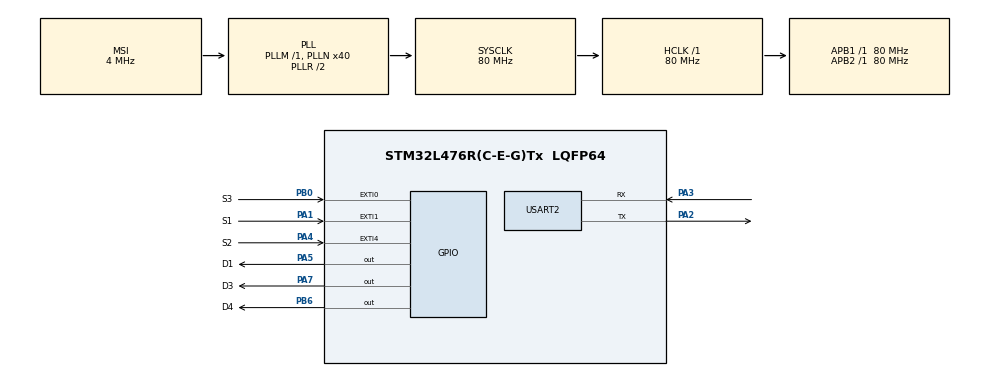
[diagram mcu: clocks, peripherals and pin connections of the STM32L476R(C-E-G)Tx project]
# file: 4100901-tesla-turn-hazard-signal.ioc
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Mcu.Family=STM32L4
Mcu.Name=STM32L476R(C-E-G)Tx
Mcu.Package=LQFP64
NVIC.EXTI0_IRQn=true\:0\:0\:false\:false\:true\:true\:true\:true
NVIC.EXTI1_IRQn=true\:0\:0\:false\:false\:true\:true\:true\:true
NVIC.EXTI4_IRQn=true\:0\:0\:false\:false\:true\:true\:true\:true
NVIC.PriorityGroup=NVIC_PRIORITYGROUP_4
PA1.GPIO_Label=S1
PA1.GPIO_ModeDefaultEXTI=GPIO_MODE_IT_FALLING
PA1.Signal=GPXTI1
PA2.Mode=Asynchronous
PA2.Signal=USART2_TX
PA3.Mode=Asynchronous
PA3.Signal=USART2_RX
PA4.GPIO_Label=S2
PA4.GPIO_ModeDefaultEXTI=GPIO_MODE_IT_FALLING
PA4.Signal=GPXTI4
PA5.GPIO_Label=D1
PA5.PinState=GPIO_PIN_SET
PA5.Signal=GPIO_Output
PA7.GPIO_Label=D3
PA7.PinState=GPIO_PIN_SET
PA7.Signal=GPIO_Output
PB0.GPIO_Label=S3
PB0.GPIO_ModeDefaultEXTI=GPIO_MODE_IT_FALLING
PB0.Signal=GPXTI0
PB6.GPIO_Label=D4
PB6.PinState=GPIO_PIN_SET
PB6.Signal=GPIO_Output
ProjectManager.HeapSize=0x200
ProjectManager.StackSize=0x400
ProjectManager.TargetToolchain=STM32CubeIDE
RCC.ADCFreq_Value=16000000
RCC.AHBFreq_Value=80000000
RCC.APB1Freq_Value=80000000
RCC.APB1TimFreq_Value=80000000
RCC.APB2Freq_Value=80000000
RCC.APB2TimFreq_Value=80000000
RCC.CortexFreq_Value=80000000
RCC.HCLKFreq_Value=80000000
RCC.HSE_VALUE=8000000
RCC.HSI_VALUE=16000000
RCC.LSE_VALUE=32768
RCC.MSI_VALUE=4000000
RCC.PLLN=40
RCC.SYSCLKFreq_VALUE=80000000
RCC.SYSCLKSource=RCC_SYSCLKSOURCE_PLLCLK
RCC.USBFreq_Value=16000000
RCC.VCOOutputFreq_Value=160000000
USART2.VirtualMode-Asynchronous=VM_ASYNC
board=custom

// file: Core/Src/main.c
/* USER CODE BEGIN Header */
/**
  ******************************************************************************
  * @file           : main.c
  * @brief          : Main program body
  ******************************************************************************
  * @attention
  *
  * Copyright (c) 2024 STMicroelectronics.
  * All rights reserved.
  *
  * This software is licensed under terms that can be found in the LICENSE file
  * in the root directory of this software component.
  * If no LICENSE file comes with this software, it is provided AS-IS.
  *
  ******************************************************************************
  */
/* USER CODE END Header */
#include "main.h"

UART_HandleTypeDef huart2;

/* USER CODE BEGIN PV */
uint32_t left_toggle = 0;
/* USER CODE END PV */

void SystemClock_Config(void);
static void MX_GPIO_Init(void);
static void MX_USART2_UART_Init(void);

/* USER CODE BEGIN 0 */
void HAL_GPIO_EXTI_Callback(uint16_t GPIO_Pin)
{
  /* Prevent unused argument(s) compilation warning */
  UNUSED(GPIO_Pin);

  if(GPIO_Pin == S1_Pin){
	  /*HAL_UART_Transmit(&huart2, "Pin S1\r\n", 8,10);*/
	  left_toggle = 6;
  }
  if(GPIO_Pin == S2_Pin){
  	  HAL_UART_Transmit(&huart2, "Pin S2\r\n", 8,10);
    }
  if(GPIO_Pin == S3_Pin){
  	  HAL_UART_Transmit(&huart2, "Pin S3\r\n", 8,10);
    }

}

/*Para configurar el hearrbeat:*/
void heartbeat(void){
	static uint32_t hearbeat_tick = 0;
	if(hearbeat_tick < HAL_GetTick()){
		hearbeat_tick = HAL_GetTick() + 500;
		HAL_GPIO_TogglePin(D1_GPIO_Port, D1_Pin);
	}
}

void turn_signal_led(void){
	static uint32_t toggle_tick = 0;
	if(toggle_tick < HAL_GetTick()){
		if(left_toggle > 0){
			toggle_tick = HAL_GetTick() + 500;
			HAL_GPIO_TogglePin(D3_GPIO_Port, D3_Pin);
			left_toggle--;
		}else{
			HAL_GPIO_WritePin(D3_GPIO_Port, D3_Pin, 1);
		}

	}
}

/* USER CODE END 0 */

int main(void)
{

  /* MCU Configuration--------------------------------------------------------*/

  /* Reset of all peripherals, Initializes the Flash interface and the Systick. */
  HAL_Init();

  /* Configure the system clock */
  SystemClock_Config();

  /* Initialize all configured peripherals */
  MX_GPIO_Init();
  MX_USART2_UART_Init();

  /* Infinite loop */
  /* USER CODE BEGIN WHILE */
  while (1)
  {
	  heartbeat();
	  turn_signal_led();
    /* USER CODE END WHILE */

  }
}

void SystemClock_Config(void)
{
  RCC_OscInitTypeDef RCC_OscInitStruct = {0};
  RCC_ClkInitTypeDef RCC_ClkInitStruct = {0};

  /** Configure the main internal regulator output voltage
  */
  if (HAL_PWREx_ControlVoltageScaling(PWR_REGULATOR_VOLTAGE_SCALE1) != HAL_OK)
  {
    Error_Handler();
  }

  /** Initializes the RCC Oscillators according to the specified parameters
  * in the RCC_OscInitTypeDef structure.
  */
  RCC_OscInitStruct.OscillatorType = RCC_OSCILLATORTYPE_MSI;
  RCC_OscInitStruct.MSIState = RCC_MSI_ON;
  RCC_OscInitStruct.MSICalibrationValue = 0;
  RCC_OscInitStruct.MSIClockRange = RCC_MSIRANGE_6;
  RCC_OscInitStruct.PLL.PLLState = RCC_PLL_ON;
  RCC_OscInitStruct.PLL.PLLSource = RCC_PLLSOURCE_MSI;
  RCC_OscInitStruct.PLL.PLLM = 1;
  RCC_OscInitStruct.PLL.PLLN = 40;
  RCC_OscInitStruct.PLL.PLLP = RCC_PLLP_DIV7;
  RCC_OscInitStruct.PLL.PLLQ = RCC_PLLQ_DIV2;
  RCC_OscInitStruct.PLL.PLLR = RCC_PLLR_DIV2;
  if (HAL_RCC_OscConfig(&RCC_OscInitStruct) != HAL_OK)
  {
    Error_Handler();
  }

  /** Initializes the CPU, AHB and APB buses clocks
  */
  RCC_ClkInitStruct.ClockType = RCC_CLOCKTYPE_HCLK|RCC_CLOCKTYPE_SYSCLK
                              |RCC_CLOCKTYPE_PCLK1|RCC_CLOCKTYPE_PCLK2;
  RCC_ClkInitStruct.SYSCLKSource = RCC_SYSCLKSOURCE_PLLCLK;
  RCC_ClkInitStruct.AHBCLKDivider = RCC_SYSCLK_DIV1;
  RCC_ClkInitStruct.APB1CLKDivider = RCC_HCLK_DIV1;
  RCC_ClkInitStruct.APB2CLKDivider = RCC_HCLK_DIV1;

  if (HAL_RCC_ClockConfig(&RCC_ClkInitStruct, FLASH_LATENCY_4) != HAL_OK)
  {
    Error_Handler();
  }
}

static void MX_USART2_UART_Init(void)
{

  huart2.Instance = USART2;
  huart2.Init.BaudRate = 115200;
  huart2.Init.WordLength = UART_WORDLENGTH_8B;
  huart2.Init.StopBits = UART_STOPBITS_1;
  huart2.Init.Parity = UART_PARITY_NONE;
  huart2.Init.Mode = UART_MODE_TX_RX;
  huart2.Init.HwFlowCtl = UART_HWCONTROL_NONE;
  huart2.Init.OverSampling = UART_OVERSAMPLING_16;
  huart2.Init.OneBitSampling = UART_ONE_BIT_SAMPLE_DISABLE;
  huart2.AdvancedInit.AdvFeatureInit = UART_ADVFEATURE_NO_INIT;
  if (HAL_UART_Init(&huart2) != HAL_OK)
  {
    Error_Handler();
  }

}

static void MX_GPIO_Init(void)
{
  GPIO_InitTypeDef GPIO_InitStruct = {0};

  /* GPIO Ports Clock Enable */
  __HAL_RCC_GPIOA_CLK_ENABLE();
  __HAL_RCC_GPIOB_CLK_ENABLE();

  /*Configure GPIO pin Output Level */
  HAL_GPIO_WritePin(GPIOA, D1_Pin|D3_Pin, GPIO_PIN_SET);

  /*Configure GPIO pin Output Level */
  HAL_GPIO_WritePin(D4_GPIO_Port, D4_Pin, GPIO_PIN_SET);

  /*Configure GPIO pins : S1_Pin S2_Pin */
  GPIO_InitStruct.Pin = S1_Pin|S2_Pin;
  GPIO_InitStruct.Mode = GPIO_MODE_IT_FALLING;
  GPIO_InitStruct.Pull = GPIO_NOPULL;
  HAL_GPIO_Init(GPIOA, &GPIO_InitStruct);

  /*Configure GPIO pins : D1_Pin D3_Pin */
  GPIO_InitStruct.Pin = D1_Pin|D3_Pin;
  GPIO_InitStruct.Mode = GPIO_MODE_OUTPUT_PP;
  GPIO_InitStruct.Pull = GPIO_NOPULL;
  GPIO_InitStruct.Speed = GPIO_SPEED_FREQ_LOW;
  HAL_GPIO_Init(GPIOA, &GPIO_InitStruct);

  /*Configure GPIO pin : S3_Pin */
  GPIO_InitStruct.Pin = S3_Pin;
  GPIO_InitStruct.Mode = GPIO_MODE_IT_FALLING;
  GPIO_InitStruct.Pull = GPIO_NOPULL;
  HAL_GPIO_Init(S3_GPIO_Port, &GPIO_InitStruct);

  /*Configure GPIO pin : D4_Pin */
  GPIO_InitStruct.Pin = D4_Pin;
  GPIO_InitStruct.Mode = GPIO_MODE_OUTPUT_PP;
  GPIO_InitStruct.Pull = GPIO_NOPULL;
  GPIO_InitStruct.Speed = GPIO_SPEED_FREQ_LOW;
  HAL_GPIO_Init(D4_GPIO_Port, &GPIO_InitStruct);

  /* EXTI interrupt init*/
  HAL_NVIC_SetPriority(EXTI0_IRQn, 0, 0);
  HAL_NVIC_EnableIRQ(EXTI0_IRQn);

  HAL_NVIC_SetPriority(EXTI1_IRQn, 0, 0);
  HAL_NVIC_EnableIRQ(EXTI1_IRQn);

  HAL_NVIC_SetPriority(EXTI4_IRQn, 0, 0);
  HAL_NVIC_EnableIRQ(EXTI4_IRQn);

}

void Error_Handler(void)
{
  __disable_irq();
  while (1)
  {
  }
}
